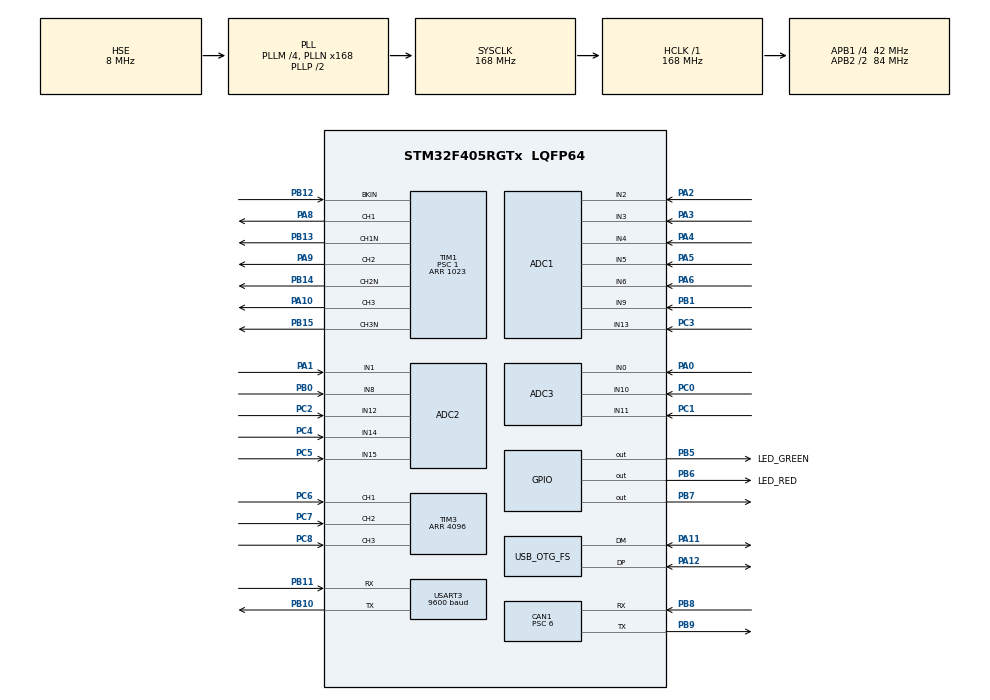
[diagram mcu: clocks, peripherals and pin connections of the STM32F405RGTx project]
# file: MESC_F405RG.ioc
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ADC1.Channel-0\#ChannelRegularConversion=ADC_CHANNEL_3
ADC1.Channel-1\#ChannelInjectedConversion=ADC_CHANNEL_2
ADC1.Channel-2\#ChannelInjectedConversion=ADC_CHANNEL_13
ADC1.Channel-3\#ChannelInjectedConversion=ADC_CHANNEL_4
ADC1.Channel-5\#ChannelRegularConversion=ADC_CHANNEL_4
ADC1.Channel-6\#ChannelRegularConversion=ADC_CHANNEL_5
ADC1.Channel-7\#ChannelRegularConversion=ADC_CHANNEL_6
ADC1.Channel-9\#ChannelInjectedConversion=ADC_CHANNEL_5
ADC1.DMAContinuousRequests=ENABLE
ADC1.EOCSelection=ADC_EOC_SEQ_CONV
ADC1.EnableAnalogWatchDog=true
ADC1.ExternalTrigConv=ADC_EXTERNALTRIGCONV_T2_TRGO
ADC1.ExternalTrigConvEdge=ADC_EXTERNALTRIGCONVEDGE_RISING
ADC1.ExternalTrigInjecConv=ADC_EXTERNALTRIGINJECCONV_T1_TRGO
ADC1.ExternalTrigInjecConvEdge=ADC_EXTERNALTRIGINJECCONVEDGE_FALLING
ADC1.HighThreshold=4048
ADC1.ITMode=ENABLE
ADC1.InjNumberOfConversion=4
ADC1.InjectedOffset-1\#ChannelInjectedConversion=0
ADC1.InjectedOffset-2\#ChannelInjectedConversion=0
ADC1.InjectedOffset-3\#ChannelInjectedConversion=0
ADC1.InjectedOffset-9\#ChannelInjectedConversion=0
ADC1.InjectedRank-1\#ChannelInjectedConversion=1
ADC1.InjectedRank-2\#ChannelInjectedConversion=2
ADC1.InjectedRank-3\#ChannelInjectedConversion=3
ADC1.InjectedRank-9\#ChannelInjectedConversion=4
ADC1.LowThreshold=48
ADC1.NbrOfConversion=4
ADC1.NbrOfConversionFlag=1
ADC1.Rank-0\#ChannelRegularConversion=1
ADC1.Rank-5\#ChannelRegularConversion=2
ADC1.Rank-6\#ChannelRegularConversion=3
ADC1.Rank-7\#ChannelRegularConversion=4
ADC1.SamplingTime-0\#ChannelRegularConversion=ADC_SAMPLETIME_15CYCLES
ADC1.SamplingTime-1\#ChannelInjectedConversion=ADC_SAMPLETIME_15CYCLES
ADC1.SamplingTime-2\#ChannelInjectedConversion=ADC_SAMPLETIME_15CYCLES
ADC1.SamplingTime-3\#ChannelInjectedConversion=ADC_SAMPLETIME_15CYCLES
ADC1.SamplingTime-5\#ChannelRegularConversion=ADC_SAMPLETIME_15CYCLES
ADC1.SamplingTime-6\#ChannelRegularConversion=ADC_SAMPLETIME_15CYCLES
ADC1.SamplingTime-7\#ChannelRegularConversion=ADC_SAMPLETIME_15CYCLES
ADC1.SamplingTime-9\#ChannelInjectedConversion=ADC_SAMPLETIME_15CYCLES
ADC1.ScanConvMode=ENABLE
ADC1.WatchdogChannel=ADC_CHANNEL_2
ADC1.WatchdogMode=ADC_ANALOGWATCHDOG_SINGLE_INJEC
ADC1.master=1
ADC2.Channel-0\#ChannelRegularConversion=ADC_CHANNEL_14
ADC2.Channel-1\#ChannelInjectedConversion=ADC_CHANNEL_1
ADC2.Channel-2\#ChannelInjectedConversion=ADC_CHANNEL_12
ADC2.Channel-3\#ChannelInjectedConversion=ADC_CHANNEL_8
ADC2.Channel-5\#ChannelRegularConversion=ADC_CHANNEL_15
ADC2.Channel-6\#ChannelRegularConversion=ADC_CHANNEL_8
ADC2.Channel-7\#ChannelRegularConversion=ADC_CHANNEL_9
ADC2.Channel-8\#ChannelInjectedConversion=ADC_CHANNEL_9
ADC2.DMAContinuousRequests=ENABLE
ADC2.EOCSelection=ADC_EOC_SEQ_CONV
ADC2.EnableAnalogWatchDog=true
ADC2.ExternalTrigConv=ADC_EXTERNALTRIGCONV_T2_TRGO
ADC2.ExternalTrigInjecConv=ADC_EXTERNALTRIGINJECCONV_T1_TRGO
ADC2.ExternalTrigInjecConvEdge=ADC_EXTERNALTRIGINJECCONVEDGE_FALLING
ADC2.HighThreshold=4048
ADC2.ITMode=ENABLE
ADC2.InjNumberOfConversion=4
ADC2.InjectedOffset-1\#ChannelInjectedConversion=0
ADC2.InjectedOffset-2\#ChannelInjectedConversion=0
ADC2.InjectedOffset-3\#ChannelInjectedConversion=0
ADC2.InjectedOffset-8\#ChannelInjectedConversion=0
ADC2.InjectedRank-1\#ChannelInjectedConversion=1
ADC2.InjectedRank-2\#ChannelInjectedConversion=2
ADC2.InjectedRank-3\#ChannelInjectedConversion=3
ADC2.InjectedRank-8\#ChannelInjectedConversion=4
ADC2.LowThreshold=48
ADC2.NbrOfConversion=4
ADC2.NbrOfConversionFlag=1
ADC2.Rank-0\#ChannelRegularConversion=1
ADC2.Rank-5\#ChannelRegularConversion=2
ADC2.Rank-6\#ChannelRegularConversion=3
ADC2.Rank-7\#ChannelRegularConversion=4
ADC2.SamplingTime-0\#ChannelRegularConversion=ADC_SAMPLETIME_15CYCLES
ADC2.SamplingTime-1\#ChannelInjectedConversion=ADC_SAMPLETIME_15CYCLES
ADC2.SamplingTime-2\#ChannelInjectedConversion=ADC_SAMPLETIME_15CYCLES
ADC2.SamplingTime-3\#ChannelInjectedConversion=ADC_SAMPLETIME_15CYCLES
ADC2.SamplingTime-5\#ChannelRegularConversion=ADC_SAMPLETIME_15CYCLES
ADC2.SamplingTime-6\#ChannelRegularConversion=ADC_SAMPLETIME_15CYCLES
ADC2.SamplingTime-7\#ChannelRegularConversion=ADC_SAMPLETIME_15CYCLES
ADC2.SamplingTime-8\#ChannelInjectedConversion=ADC_SAMPLETIME_3CYCLES
ADC2.WatchdogChannel=ADC_CHANNEL_1
ADC2.WatchdogMode=ADC_ANALOGWATCHDOG_SINGLE_INJEC
ADC3.Channel-0\#ChannelRegularConversion=ADC_CHANNEL_10
ADC3.Channel-1\#ChannelInjectedConversion=ADC_CHANNEL_0
ADC3.Channel-2\#ChannelInjectedConversion=ADC_CHANNEL_11
ADC3.Channel-3\#ChannelInjectedConversion=ADC_CHANNEL_10
ADC3.Channel-4\#ChannelInjectedConversion=ADC_CHANNEL_11
ADC3.EOCSelection=ADC_EOC_SEQ_CONV
ADC3.EnableAnalogWatchDog=true
ADC3.ExternalTrigInjecConv=ADC_EXTERNALTRIGINJECCONV_T1_TRGO
ADC3.ExternalTrigInjecConvEdge=ADC_EXTERNALTRIGINJECCONVEDGE_FALLING
ADC3.HighThreshold=4048
ADC3.ITMode=ENABLE
ADC3.InjNumberOfConversion=4
ADC3.InjectedOffset-1\#ChannelInjectedConversion=0
ADC3.InjectedOffset-2\#ChannelInjectedConversion=0
ADC3.InjectedOffset-3\#ChannelInjectedConversion=0
ADC3.InjectedOffset-4\#ChannelInjectedConversion=0
ADC3.InjectedRank-1\#ChannelInjectedConversion=1
ADC3.InjectedRank-2\#ChannelInjectedConversion=2
ADC3.InjectedRank-3\#ChannelInjectedConversion=3
ADC3.InjectedRank-4\#ChannelInjectedConversion=4
ADC3.LowThreshold=48
ADC3.NbrOfConversionFlag=1
ADC3.Rank-0\#ChannelRegularConversion=1
ADC3.SamplingTime-0\#ChannelRegularConversion=ADC_SAMPLETIME_3CYCLES
ADC3.SamplingTime-1\#ChannelInjectedConversion=ADC_SAMPLETIME_15CYCLES
ADC3.SamplingTime-2\#ChannelInjectedConversion=ADC_SAMPLETIME_15CYCLES
ADC3.SamplingTime-3\#ChannelInjectedConversion=ADC_SAMPLETIME_15CYCLES
ADC3.SamplingTime-4\#ChannelInjectedConversion=ADC_SAMPLETIME_3CYCLES
ADC3.WatchdogChannel=ADC_CHANNEL_0
ADC3.WatchdogMode=ADC_ANALOGWATCHDOG_SINGLE_INJEC
CAN1.BS1=CAN_BS1_11TQ
CAN1.BS2=CAN_BS2_2TQ
CAN1.CalculateBaudRate=500000
CAN1.CalculateTimeBit=2000
CAN1.CalculateTimeQuantum=142.85714285714286
CAN1.NART=DISABLE
CAN1.Prescaler=6
CAN1.SJW=CAN_SJW_2TQ
CAN1.TXFP=ENABLE
Dma.ADC1.2.Direction=DMA_PERIPH_TO_MEMORY
Dma.ADC1.2.FIFOMode=DMA_FIFOMODE_DISABLE
Dma.ADC1.2.Instance=DMA2_Stream0
Dma.ADC1.2.MemDataAlignment=DMA_MDATAALIGN_WORD
Dma.ADC1.2.MemInc=DMA_MINC_ENABLE
Dma.ADC1.2.Mode=DMA_CIRCULAR
Dma.ADC1.2.PeriphDataAlignment=DMA_PDATAALIGN_WORD
Dma.ADC1.2.PeriphInc=DMA_PINC_DISABLE
Dma.ADC1.2.Priority=DMA_PRIORITY_LOW
Dma.ADC2.3.Direction=DMA_PERIPH_TO_MEMORY
Dma.ADC2.3.FIFOMode=DMA_FIFOMODE_DISABLE
Dma.ADC2.3.Instance=DMA2_Stream2
Dma.ADC2.3.MemDataAlignment=DMA_MDATAALIGN_WORD
Dma.ADC2.3.MemInc=DMA_MINC_ENABLE
Dma.ADC2.3.Mode=DMA_CIRCULAR
Dma.ADC2.3.PeriphDataAlignment=DMA_PDATAALIGN_WORD
Dma.ADC2.3.PeriphInc=DMA_PINC_DISABLE
Dma.ADC2.3.Priority=DMA_PRIORITY_LOW
Dma.Request0=USART3_TX
Dma.Request1=USART3_RX
Dma.Request2=ADC1
Dma.Request3=ADC2
Dma.USART3_RX.1.Direction=DMA_PERIPH_TO_MEMORY
Dma.USART3_RX.1.FIFOMode=DMA_FIFOMODE_DISABLE
Dma.USART3_RX.1.Instance=DMA1_Stream1
Dma.USART3_RX.1.MemDataAlignment=DMA_MDATAALIGN_BYTE
Dma.USART3_RX.1.MemInc=DMA_MINC_ENABLE
Dma.USART3_RX.1.Mode=DMA_CIRCULAR
Dma.USART3_RX.1.PeriphDataAlignment=DMA_PDATAALIGN_BYTE
Dma.USART3_RX.1.PeriphInc=DMA_PINC_DISABLE
Dma.USART3_RX.1.Priority=DMA_PRIORITY_LOW
Dma.USART3_TX.0.Direction=DMA_MEMORY_TO_PERIPH
Dma.USART3_TX.0.FIFOMode=DMA_FIFOMODE_DISABLE
Dma.USART3_TX.0.Instance=DMA1_Stream3
Dma.USART3_TX.0.MemDataAlignment=DMA_MDATAALIGN_BYTE
Dma.USART3_TX.0.MemInc=DMA_MINC_ENABLE
Dma.USART3_TX.0.Mode=DMA_NORMAL
Dma.USART3_TX.0.PeriphDataAlignment=DMA_PDATAALIGN_BYTE
Dma.USART3_TX.0.PeriphInc=DMA_PINC_DISABLE
Dma.USART3_TX.0.Priority=DMA_PRIORITY_LOW
FREERTOS.Tasks01=defaultTask,24,256,StartDefaultTask,Default,NULL,Dynamic,NULL,NULL
FREERTOS.configENABLE_FPU=1
FREERTOS.configRECORD_STACK_HIGH_ADDRESS=1
FREERTOS.configTOTAL_HEAP_SIZE=64000
FREERTOS.configUSE_NEWLIB_REENTRANT=1
Mcu.Family=STM32F4
Mcu.Name=STM32F405RGTx
Mcu.Package=LQFP64
NVIC.ADC_IRQn=true\:2\:0\:true\:false\:true\:false\:true\:false\:true
NVIC.CAN1_RX0_IRQn=true\:5\:0\:false\:false\:false\:true\:true\:false\:true
NVIC.DMA1_Stream1_IRQn=true\:5\:0\:false\:false\:true\:true\:false\:true\:true
NVIC.DMA1_Stream3_IRQn=true\:5\:0\:true\:false\:true\:true\:false\:true\:true
NVIC.OTG_FS_IRQn=true\:5\:0\:true\:false\:true\:true\:true\:true\:true
NVIC.PriorityGroup=NVIC_PRIORITYGROUP_4
NVIC.TIM1_UP_TIM10_IRQn=true\:1\:0\:true\:false\:true\:false\:true\:false\:true
NVIC.TIM2_IRQn=true\:3\:0\:true\:false\:true\:false\:true\:false\:true
NVIC.TIM4_IRQn=true\:4\:0\:true\:false\:true\:false\:true\:false\:true
NVIC.TIM6_DAC_IRQn=true\:15\:0\:false\:false\:true\:false\:false\:true\:true
NVIC.TimeBase=TIM6_DAC_IRQn
NVIC.TimeBaseIP=TIM6
NVIC.USART3_IRQn=true\:5\:0\:true\:false\:true\:true\:true\:true\:true
PA0-WKUP.Signal=ADCx_IN0
PA1.Signal=ADCx_IN1
PA10.Signal=S_TIM1_CH3
PA11.Mode=Device_Only
PA11.Signal=USB_OTG_FS_DM
PA12.Mode=Device_Only
PA12.Signal=USB_OTG_FS_DP
PA2.Signal=ADCx_IN2
PA3.Signal=ADCx_IN3
PA4.Signal=ADCx_IN4
PA5.Signal=ADCx_IN5
PA6.Signal=ADCx_IN6
PA8.Signal=S_TIM1_CH1
PA9.Signal=S_TIM1_CH2
PB0.Signal=ADCx_IN8
PB1.Signal=ADCx_IN9
PB10.Signal=SharedStack_PB10
PB10.Stacked=true
PB11.Signal=SharedStack_PB11
PB11.Stacked=true
PB12.Mode=Activate-Break-Input
PB12.Signal=TIM1_BKIN
PB13.Mode=PWM Generation1 CH1 CH1N
PB13.Signal=TIM1_CH1N
PB14.Mode=PWM Generation2 CH2 CH2N
PB14.Signal=TIM1_CH2N
PB15.Mode=PWM Generation3 CH3 CH3N
PB15.Signal=TIM1_CH3N
PB5.GPIO_Label=LED_GREEN
PB5.Signal=GPIO_Output
PB6.GPIO_Label=LED_RED
PB6.Signal=GPIO_Output
PB7.Signal=GPIO_Output
PB8.Mode=CAN_Activate
PB8.Signal=CAN1_RX
PB9.Mode=CAN_Activate
PB9.Signal=CAN1_TX
PC0.Signal=ADCx_IN10
PC1.Signal=ADCx_IN11
PC2.Signal=ADCx_IN12
PC3.Signal=ADCx_IN13
PC4.Signal=ADCx_IN14
PC5.Signal=ADCx_IN15
PC6.Signal=S_TIM3_CH1
PC7.Signal=S_TIM3_CH2
PC8.Signal=S_TIM3_CH3
PH0-OSC_IN.Mode=HSE-External-Oscillator
PH0-OSC_IN.Signal=RCC_OSC_IN
PH1-OSC_OUT.Mode=HSE-External-Oscillator
PH1-OSC_OUT.Signal=RCC_OSC_OUT
ProjectManager.HeapSize=0x200
ProjectManager.StackSize=0x400
ProjectManager.TargetToolchain=CMake
RCC.48MHZClocksFreq_Value=48000000
RCC.AHBFreq_Value=168000000
RCC.APB1CLKDivider=RCC_HCLK_DIV4
RCC.APB1Freq_Value=42000000
RCC.APB1TimFreq_Value=84000000
RCC.APB2CLKDivider=RCC_HCLK_DIV2
RCC.APB2Freq_Value=84000000
RCC.APB2TimFreq_Value=168000000
RCC.CortexFreq_Value=168000000
RCC.HCLKFreq_Value=168000000
RCC.HSE_VALUE=8000000
RCC.HSI_VALUE=16000000
RCC.LSE_VALUE=32768
RCC.PLLM=4
RCC.PLLN=168
RCC.PLLQ=7
RCC.SYSCLKFreq_VALUE=168000000
RCC.SYSCLKSource=RCC_SYSCLKSOURCE_PLLCLK
RCC.VCOOutputFreq_Value=336000000
SH.ADCx_IN0.0=ADC1_IN0
SH.ADCx_IN0.1=ADC3_IN0,IN0
SH.ADCx_IN1.0=ADC2_IN1,IN1
SH.ADCx_IN10.0=ADC1_IN10
SH.ADCx_IN10.1=ADC3_IN10,IN10
SH.ADCx_IN11.0=ADC2_IN11
SH.ADCx_IN11.1=ADC3_IN11,IN11
SH.ADCx_IN12.0=ADC3_IN12
SH.ADCx_IN12.1=ADC2_IN12,IN12
SH.ADCx_IN13.0=ADC3_IN13
SH.ADCx_IN13.1=ADC1_IN13,IN13
SH.ADCx_IN14.0=ADC2_IN14,IN14
SH.ADCx_IN15.0=ADC2_IN15,IN15
SH.ADCx_IN2.0=ADC3_IN2
SH.ADCx_IN2.1=ADC1_IN2,IN2
SH.ADCx_IN3.0=ADC2_IN3
SH.ADCx_IN3.1=ADC1_IN3,IN3
SH.ADCx_IN4.0=ADC1_IN4,IN4
SH.ADCx_IN5.0=ADC1_IN5,IN5
SH.ADCx_IN6.0=ADC1_IN6,IN6
SH.ADCx_IN8.0=ADC2_IN8,IN8
SH.ADCx_IN9.0=ADC1_IN9,IN9
SH.ADCx_IN9.1=ADC2_IN9,IN9
SH.S_TIM1_CH1.0=TIM1_CH1,PWM Generation1 CH1 CH1N
SH.S_TIM1_CH2.0=TIM1_CH2,PWM Generation2 CH2 CH2N
SH.S_TIM1_CH3.0=TIM1_CH3,PWM Generation3 CH3 CH3N
SH.S_TIM3_CH1.0=TIM3_CH1,Encoder_Interface
SH.S_TIM3_CH2.0=TIM3_CH2,Encoder_Interface
SH.S_TIM3_CH3.0=TIM3_CH3,Input_Capture3_from_TI3
SH.SharedStack_PB10.0=I2C2_SCL
SH.SharedStack_PB10.1=USART3_TX,Asynchronous
SH.SharedStack_PB11.0=I2C2_SDA
SH.SharedStack_PB11.1=USART3_RX,Asynchronous
TIM1.BreakPolarity=TIM_BREAKPOLARITY_LOW
TIM1.Channel-PWM\ Generation1\ CH1\ CH1N=TIM_CHANNEL_1
TIM1.Channel-PWM\ Generation2\ CH2\ CH2N=TIM_CHANNEL_2
TIM1.Channel-PWM\ Generation3\ CH3\ CH3N=TIM_CHANNEL_3
TIM1.Channel-PWM\ Generation4\ No\ Output=TIM_CHANNEL_4
TIM1.CounterMode=TIM_COUNTERMODE_CENTERALIGNED1
TIM1.DeadTime=80
TIM1.OffStateIDLEMode=TIM_OSSI_ENABLE
TIM1.OffStateRunMode=TIM_OSSR_ENABLE
TIM1.Period=1023
TIM1.Prescaler=1
TIM1.Pulse-PWM\ Generation1\ CH1\ CH1N=512
TIM1.Pulse-PWM\ Generation2\ CH2\ CH2N=512
TIM1.Pulse-PWM\ Generation3\ CH3\ CH3N=512
TIM1.Pulse-PWM\ Generation4\ No\ Output=512
TIM1.TIM_MasterOutputTrigger=TIM_TRGO_OC4REF
TIM2.Channel-PWM\ Generation1\ No\ Output=TIM_CHANNEL_1
TIM2.Period=9999
TIM2.Prescaler=83
TIM2.TIM_MasterOutputTrigger=TIM_TRGO_UPDATE
TIM3.Channel-Input_Capture3_from_TI3=TIM_CHANNEL_3
TIM3.EncoderMode=TIM_ENCODERMODE_TI12
TIM3.Period=4096
TIM4.Channel-Output\ Compare3\ No\ Output=TIM_CHANNEL_3
TIM4.Channel-PWM\ Generation1\ No\ Output=TIM_CHANNEL_1
TIM4.CounterMode=TIM_COUNTERMODE_UP
TIM4.Prescaler=83
USART3.BaudRate=9600
USART3.VirtualMode=VM_ASYNC
USB_DEVICE.APP_RX_DATA_SIZE-CDC_FS=2048
USB_DEVICE.APP_TX_DATA_SIZE-CDC_FS=2048
USB_DEVICE.CLASS_NAME_FS=CDC
USB_DEVICE.VirtualMode-CDC_FS=Cdc
USB_DEVICE.VirtualModeFS=Cdc_FS
USB_OTG_FS.VirtualMode=Device_Only
VP_FREERTOS_VS_CMSIS_V2.Mode=CMSIS_V2
VP_SYS_VS_tim6.Mode=TIM6
VP_TIM1_VS_no_output4.Mode=PWM Generation4 No Output
VP_TIM2_VS_no_output1.Mode=PWM Generation1 No Output
VP_TIM4_VS_no_output1.Mode=PWM Generation1 No Output
VP_TIM4_VS_no_output3.Mode=Output Compare3 No Output
VP_TIM7_VS_ClockSourceINT.Mode=Enable_Timer
VP_USB_DEVICE_VS_USB_DEVICE_CDC_FS.Mode=CDC_FS
board=custom

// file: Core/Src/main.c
/* USER CODE BEGIN Header */
/**
  ******************************************************************************
  * @file           : main.c
  * @brief          : Main program body
  ******************************************************************************
  * @attention
  *
  * Copyright (c) 2024 STMicroelectronics.
  * All rights reserved.
  *
  * This software is licensed under terms that can be found in the LICENSE file
  * in the root directory of this software component.
  * If no LICENSE file comes with this software, it is provided AS-IS.
  *
  ******************************************************************************
  */
/* USER CODE END Header */
#include "main.h"
#include "cmsis_os.h"
#include "usb_device.h"

/* USER CODE BEGIN Includes */
#include "MESCbat.h"
#include "MESCflash.h"
#include "MESCprofile.h"
#include "MESCmotor.h"
#include "MESCspeed.h"
#include "MESCtemp.h"
#include "MESCuart.h"
#include "MESCui.h"

#include "MESCmotor_state.h"
#include "MESC_Comms.h"
#include "MPU6050.h"
#include "Simple_coms.h"

#include "Tasks/init.h"

/* USER CODE END Includes */

ADC_HandleTypeDef hadc1;
ADC_HandleTypeDef hadc2;
ADC_HandleTypeDef hadc3;
DMA_HandleTypeDef hdma_adc1;
DMA_HandleTypeDef hdma_adc2;

CAN_HandleTypeDef hcan1;

TIM_HandleTypeDef htim1;
TIM_HandleTypeDef htim2;
TIM_HandleTypeDef htim3;
TIM_HandleTypeDef htim4;
TIM_HandleTypeDef htim7;

UART_HandleTypeDef huart3;
DMA_HandleTypeDef hdma_usart3_tx;
DMA_HandleTypeDef hdma_usart3_rx;

/* Definitions for defaultTask */
osThreadId_t defaultTaskHandle;
const osThreadAttr_t defaultTask_attributes = {
  .name = "defaultTask",
  .stack_size = 256 * 4,
  .priority = (osPriority_t) osPriorityNormal,
};
/* USER CODE BEGIN PV */
I2C_HandleTypeDef hi2c2;
uint16_t MPU_present, MPU_present2;
MPU6050_data_t MPU_instance_1, MPU_instance_2;
#define MPU6050_ADDR 0xD0
COMS_data_t com1;

/* USER CODE END PV */

void SystemClock_Config(void);
static void MX_GPIO_Init(void);
static void MX_DMA_Init(void);
static void MX_ADC1_Init(void);
static void MX_ADC2_Init(void);
static void MX_ADC3_Init(void);
static void MX_TIM1_Init(void);
static void MX_TIM4_Init(void);
static void MX_USART3_UART_Init(void);
static void MX_TIM7_Init(void);
static void MX_TIM2_Init(void);
static void MX_TIM3_Init(void);
static void MX_CAN1_Init(void);
void StartDefaultTask(void *argument);

/* USER CODE BEGIN PFP */
static void MX_I2C2_Init(void);

/* USER CODE END PFP */

int main(void)
{

  /* MCU Configuration--------------------------------------------------------*/

  /* Reset of all peripherals, Initializes the Flash interface and the Systick. */
  HAL_Init();

  /* Configure the system clock */
  SystemClock_Config();

  /* Initialize all configured peripherals */
  MX_GPIO_Init();
  MX_DMA_Init();
  MX_ADC1_Init();
  MX_ADC2_Init();
  MX_ADC3_Init();
  MX_TIM1_Init();
  MX_TIM4_Init();
  MX_USART3_UART_Init();
  MX_TIM7_Init();
  MX_TIM2_Init();
  MX_TIM3_Init();
  MX_CAN1_Init();
  /* USER CODE BEGIN 2 */
  //MX_I2C2_Init();

#ifdef IC_TIMER
  MESC_IC_Init(IC_TIMER);
#endif
HAL_TIM_Encoder_Start(&htim3, TIM_CHANNEL_1);
HAL_TIM_Encoder_Start(&htim3, TIM_CHANNEL_2);
HAL_TIM_IC_Start(&htim3, TIM_CHANNEL_3);

#ifdef USE_SPI_ENCODER
  HAL_SPI_Init(&hspi3);
#endif

  HAL_TIM_Base_Start(&htim7);
  /*
  Starting System Initialisation
  */

  // Initialise components
  bat_init( PROFILE_DEFAULT );
  speed_init( PROFILE_DEFAULT );
  // Initialise user Interface
  //ui_init( PROFILE_DEFAULT );

  /*
  Finished System Initialisation
  */
HAL_Delay(1);
  //Set motor timer
  mtr[0].mtimer = &htim1;
  mtr[0].stimer = &htim2;

  mtr[0].enctimer = &htim3;
  //mtr[0].encspi = &hspi3;
  motor_init( PROFILE_DEFAULT );
  MESCInit(&mtr[0]);

  /* USER CODE END 2 */

  /* Init scheduler */
  osKernelInitialize();

  /* Create the thread(s) */
  /* creation of defaultTask */
  defaultTaskHandle = osThreadNew(StartDefaultTask, NULL, &defaultTask_attributes);

  /* USER CODE BEGIN RTOS_EVENTS */
  /* add events, ... */
  init_system();

  /* USER CODE END RTOS_EVENTS */

  /* Start scheduler */
  osKernelStart();

  /* We should never get here as control is now taken by the scheduler */

  /* Infinite loop */
  /* USER CODE BEGIN WHILE */

  HAL_Delay(1000);
  //MotorState = MOTOR_STATE_RUN;
  HAL_Delay(1000);

#if 0                                  // INIT FLASH
  while (MotorState == MOTOR_STATE_MEASURING) {
    __NOP();
  }
  MotorState = MOTOR_STATE_DETECTING;
  while (MotorState == MOTOR_STATE_DETECTING) {
    __NOP();
  }
#endif

  while (1) {
    /* USER CODE END WHILE */

  }
}

void SystemClock_Config(void)
{
  RCC_OscInitTypeDef RCC_OscInitStruct = {0};
  RCC_ClkInitTypeDef RCC_ClkInitStruct = {0};

  /** Configure the main internal regulator output voltage
  */
  __HAL_RCC_PWR_CLK_ENABLE();
  __HAL_PWR_VOLTAGESCALING_CONFIG(PWR_REGULATOR_VOLTAGE_SCALE1);

  /** Initializes the RCC Oscillators according to the specified parameters
  * in the RCC_OscInitTypeDef structure.
  */
  RCC_OscInitStruct.OscillatorType = RCC_OSCILLATORTYPE_HSE;
  RCC_OscInitStruct.HSEState = RCC_HSE_ON;
  RCC_OscInitStruct.PLL.PLLState = RCC_PLL_ON;
  RCC_OscInitStruct.PLL.PLLSource = RCC_PLLSOURCE_HSE;
  RCC_OscInitStruct.PLL.PLLM = 4;
  RCC_OscInitStruct.PLL.PLLN = 168;
  RCC_OscInitStruct.PLL.PLLP = RCC_PLLP_DIV2;
  RCC_OscInitStruct.PLL.PLLQ = 7;
  if (HAL_RCC_OscConfig(&RCC_OscInitStruct) != HAL_OK)
  {
    Error_Handler();
  }

  /** Initializes the CPU, AHB and APB buses clocks
  */
  RCC_ClkInitStruct.ClockType = RCC_CLOCKTYPE_HCLK|RCC_CLOCKTYPE_SYSCLK
                              |RCC_CLOCKTYPE_PCLK1|RCC_CLOCKTYPE_PCLK2;
  RCC_ClkInitStruct.SYSCLKSource = RCC_SYSCLKSOURCE_PLLCLK;
  RCC_ClkInitStruct.AHBCLKDivider = RCC_SYSCLK_DIV1;
  RCC_ClkInitStruct.APB1CLKDivider = RCC_HCLK_DIV4;
  RCC_ClkInitStruct.APB2CLKDivider = RCC_HCLK_DIV2;

  if (HAL_RCC_ClockConfig(&RCC_ClkInitStruct, FLASH_LATENCY_5) != HAL_OK)
  {
    Error_Handler();
  }
}

static void MX_ADC1_Init(void)
{

  ADC_AnalogWDGConfTypeDef AnalogWDGConfig = {0};
  ADC_ChannelConfTypeDef sConfig = {0};
  ADC_InjectionConfTypeDef sConfigInjected = {0};

  /** Configure the global features of the ADC (Clock, Resolution, Data Alignment and number of conversion)
  */
  hadc1.Instance = ADC1;
  hadc1.Init.ClockPrescaler = ADC_CLOCK_SYNC_PCLK_DIV4;
  hadc1.Init.Resolution = ADC_RESOLUTION_12B;
  hadc1.Init.ScanConvMode = ENABLE;
  hadc1.Init.ContinuousConvMode = DISABLE;
  hadc1.Init.DiscontinuousConvMode = DISABLE;
  hadc1.Init.ExternalTrigConvEdge = ADC_EXTERNALTRIGCONVEDGE_RISING;
  hadc1.Init.ExternalTrigConv = ADC_EXTERNALTRIGCONV_T2_TRGO;
  hadc1.Init.DataAlign = ADC_DATAALIGN_RIGHT;
  hadc1.Init.NbrOfConversion = 4;
  hadc1.Init.DMAContinuousRequests = ENABLE;
  hadc1.Init.EOCSelection = ADC_EOC_SEQ_CONV;
  if (HAL_ADC_Init(&hadc1) != HAL_OK)
  {
    Error_Handler();
  }

  /** Configure the analog watchdog
  */
  AnalogWDGConfig.WatchdogMode = ADC_ANALOGWATCHDOG_SINGLE_INJEC;
  AnalogWDGConfig.HighThreshold = 4048;
  AnalogWDGConfig.LowThreshold = 48;
  AnalogWDGConfig.Channel = ADC_CHANNEL_2;
  AnalogWDGConfig.ITMode = ENABLE;
  if (HAL_ADC_AnalogWDGConfig(&hadc1, &AnalogWDGConfig) != HAL_OK)
  {
    Error_Handler();
  }

  /** Configure for the selected ADC regular channel its corresponding rank in the sequencer and its sample time.
  */
  sConfig.Channel = ADC_CHANNEL_3;
  sConfig.Rank = 1;
  sConfig.SamplingTime = ADC_SAMPLETIME_15CYCLES;
  if (HAL_ADC_ConfigChannel(&hadc1, &sConfig) != HAL_OK)
  {
    Error_Handler();
  }

  /** Configure for the selected ADC regular channel its corresponding rank in the sequencer and its sample time.
  */
  sConfig.Channel = ADC_CHANNEL_4;
  sConfig.Rank = 2;
  if (HAL_ADC_ConfigChannel(&hadc1, &sConfig) != HAL_OK)
  {
    Error_Handler();
  }

  /** Configure for the selected ADC regular channel its corresponding rank in the sequencer and its sample time.
  */
  sConfig.Channel = ADC_CHANNEL_5;
  sConfig.Rank = 3;
  if (HAL_ADC_ConfigChannel(&hadc1, &sConfig) != HAL_OK)
  {
    Error_Handler();
  }

  /** Configure for the selected ADC regular channel its corresponding rank in the sequencer and its sample time.
  */
  sConfig.Channel = ADC_CHANNEL_6;
  sConfig.Rank = 4;
  if (HAL_ADC_ConfigChannel(&hadc1, &sConfig) != HAL_OK)
  {
    Error_Handler();
  }

  /** Configures for the selected ADC injected channel its corresponding rank in the sequencer and its sample time
  */
  sConfigInjected.InjectedChannel = ADC_CHANNEL_2;
  sConfigInjected.InjectedRank = 1;
  sConfigInjected.InjectedNbrOfConversion = 4;
  sConfigInjected.InjectedSamplingTime = ADC_SAMPLETIME_15CYCLES;
  sConfigInjected.ExternalTrigInjecConvEdge = ADC_EXTERNALTRIGINJECCONVEDGE_FALLING;
  sConfigInjected.ExternalTrigInjecConv = ADC_EXTERNALTRIGINJECCONV_T1_TRGO;
  sConfigInjected.AutoInjectedConv = DISABLE;
  sConfigInjected.InjectedDiscontinuousConvMode = DISABLE;
  sConfigInjected.InjectedOffset = 0;
  if (HAL_ADCEx_InjectedConfigChannel(&hadc1, &sConfigInjected) != HAL_OK)
  {
    Error_Handler();
  }

  /** Configures for the selected ADC injected channel its corresponding rank in the sequencer and its sample time
  */
  sConfigInjected.InjectedChannel = ADC_CHANNEL_13;
  sConfigInjected.InjectedRank = 2;
  if (HAL_ADCEx_InjectedConfigChannel(&hadc1, &sConfigInjected) != HAL_OK)
  {
    Error_Handler();
  }

  /** Configures for the selected ADC injected channel its corresponding rank in the sequencer and its sample time
  */
  sConfigInjected.InjectedChannel = ADC_CHANNEL_4;
  sConfigInjected.InjectedRank = 3;
  if (HAL_ADCEx_InjectedConfigChannel(&hadc1, &sConfigInjected) != HAL_OK)
  {
    Error_Handler();
  }

  /** Configures for the selected ADC injected channel its corresponding rank in the sequencer and its sample time
  */
  sConfigInjected.InjectedChannel = ADC_CHANNEL_5;
  sConfigInjected.InjectedRank = 4;
  if (HAL_ADCEx_InjectedConfigChannel(&hadc1, &sConfigInjected) != HAL_OK)
  {
    Error_Handler();
  }

}

static void MX_ADC2_Init(void)
{

  ADC_AnalogWDGConfTypeDef AnalogWDGConfig = {0};
  ADC_ChannelConfTypeDef sConfig = {0};
  ADC_InjectionConfTypeDef sConfigInjected = {0};

  /** Configure the global features of the ADC (Clock, Resolution, Data Alignment and number of conversion)
  */
  hadc2.Instance = ADC2;
  hadc2.Init.ClockPrescaler = ADC_CLOCK_SYNC_PCLK_DIV4;
  hadc2.Init.Resolution = ADC_RESOLUTION_12B;
  hadc2.Init.ScanConvMode = ENABLE;
  hadc2.Init.ContinuousConvMode = DISABLE;
  hadc2.Init.DiscontinuousConvMode = DISABLE;
  hadc2.Init.ExternalTrigConvEdge = ADC_EXTERNALTRIGCONVEDGE_RISING;
  hadc2.Init.ExternalTrigConv = ADC_EXTERNALTRIGCONV_T2_TRGO;
  hadc2.Init.DataAlign = ADC_DATAALIGN_RIGHT;
  hadc2.Init.NbrOfConversion = 4;
  hadc2.Init.DMAContinuousRequests = ENABLE;
  hadc2.Init.EOCSelection = ADC_EOC_SEQ_CONV;
  if (HAL_ADC_Init(&hadc2) != HAL_OK)
  {
    Error_Handler();
  }

  /** Configure the analog watchdog
  */
  AnalogWDGConfig.WatchdogMode = ADC_ANALOGWATCHDOG_SINGLE_INJEC;
  AnalogWDGConfig.HighThreshold = 4048;
  AnalogWDGConfig.LowThreshold = 48;
  AnalogWDGConfig.Channel = ADC_CHANNEL_1;
  AnalogWDGConfig.ITMode = ENABLE;
  if (HAL_ADC_AnalogWDGConfig(&hadc2, &AnalogWDGConfig) != HAL_OK)
  {
    Error_Handler();
  }

  /** Configure for the selected ADC regular channel its corresponding rank in the sequencer and its sample time.
  */
  sConfig.Channel = ADC_CHANNEL_14;
  sConfig.Rank = 1;
  sConfig.SamplingTime = ADC_SAMPLETIME_15CYCLES;
  if (HAL_ADC_ConfigChannel(&hadc2, &sConfig) != HAL_OK)
  {
    Error_Handler();
  }

  /** Configure for the selected ADC regular channel its corresponding rank in the sequencer and its sample time.
  */
  sConfig.Channel = ADC_CHANNEL_15;
  sConfig.Rank = 2;
  if (HAL_ADC_ConfigChannel(&hadc2, &sConfig) != HAL_OK)
  {
    Error_Handler();
  }

  /** Configure for the selected ADC regular channel its corresponding rank in the sequencer and its sample time.
  */
  sConfig.Channel = ADC_CHANNEL_8;
  sConfig.Rank = 3;
  if (HAL_ADC_ConfigChannel(&hadc2, &sConfig) != HAL_OK)
  {
    Error_Handler();
  }

  /** Configure for the selected ADC regular channel its corresponding rank in the sequencer and its sample time.
  */
  sConfig.Channel = ADC_CHANNEL_9;
  sConfig.Rank = 4;
  if (HAL_ADC_ConfigChannel(&hadc2, &sConfig) != HAL_OK)
  {
    Error_Handler();
  }

  /** Configures for the selected ADC injected channel its corresponding rank in the sequencer and its sample time
  */
  sConfigInjected.InjectedChannel = ADC_CHANNEL_1;
  sConfigInjected.InjectedRank = 1;
  sConfigInjected.InjectedNbrOfConversion = 4;
  sConfigInjected.InjectedSamplingTime = ADC_SAMPLETIME_15CYCLES;
  sConfigInjected.ExternalTrigInjecConvEdge = ADC_EXTERNALTRIGINJECCONVEDGE_FALLING;
  sConfigInjected.ExternalTrigInjecConv = ADC_EXTERNALTRIGINJECCONV_T1_TRGO;
  sConfigInjected.AutoInjectedConv = DISABLE;
  sConfigInjected.InjectedDiscontinuousConvMode = DISABLE;
  sConfigInjected.InjectedOffset = 0;
  if (HAL_ADCEx_InjectedConfigChannel(&hadc2, &sConfigInjected) != HAL_OK)
  {
    Error_Handler();
  }

  /** Configures for the selected ADC injected channel its corresponding rank in the sequencer and its sample time
  */
  sConfigInjected.InjectedChannel = ADC_CHANNEL_12;
  sConfigInjected.InjectedRank = 2;
  if (HAL_ADCEx_InjectedConfigChannel(&hadc2, &sConfigInjected) != HAL_OK)
  {
    Error_Handler();
  }

  /** Configures for the selected ADC injected channel its corresponding rank in the sequencer and its sample time
  */
  sConfigInjected.InjectedChannel = ADC_CHANNEL_8;
  sConfigInjected.InjectedRank = 3;
  if (HAL_ADCEx_InjectedConfigChannel(&hadc2, &sConfigInjected) != HAL_OK)
  {
    Error_Handler();
  }

  /** Configures for the selected ADC injected channel its corresponding rank in the sequencer and its sample time
  */
  sConfigInjected.InjectedChannel = ADC_CHANNEL_9;
  sConfigInjected.InjectedRank = 4;
  sConfigInjected.InjectedSamplingTime = ADC_SAMPLETIME_3CYCLES;
  if (HAL_ADCEx_InjectedConfigChannel(&hadc2, &sConfigInjected) != HAL_OK)
  {
    Error_Handler();
  }

}

static void MX_ADC3_Init(void)
{

  ADC_AnalogWDGConfTypeDef AnalogWDGConfig = {0};
  ADC_ChannelConfTypeDef sConfig = {0};
  ADC_InjectionConfTypeDef sConfigInjected = {0};

  /** Configure the global features of the ADC (Clock, Resolution, Data Alignment and number of conversion)
  */
  hadc3.Instance = ADC3;
  hadc3.Init.ClockPrescaler = ADC_CLOCK_SYNC_PCLK_DIV4;
  hadc3.Init.Resolution = ADC_RESOLUTION_12B;
  hadc3.Init.ScanConvMode = ENABLE;
  hadc3.Init.ContinuousConvMode = DISABLE;
  hadc3.Init.DiscontinuousConvMode = DISABLE;
  hadc3.Init.ExternalTrigConvEdge = ADC_EXTERNALTRIGCONVEDGE_NONE;
  hadc3.Init.ExternalTrigConv = ADC_SOFTWARE_START;
  hadc3.Init.DataAlign = ADC_DATAALIGN_RIGHT;
  hadc3.Init.NbrOfConversion = 1;
  hadc3.Init.DMAContinuousRequests = DISABLE;
  hadc3.Init.EOCSelection = ADC_EOC_SEQ_CONV;
  if (HAL_ADC_Init(&hadc3) != HAL_OK)
  {
    Error_Handler();
  }

  /** Configure the analog watchdog
  */
  AnalogWDGConfig.WatchdogMode = ADC_ANALOGWATCHDOG_SINGLE_INJEC;
  AnalogWDGConfig.HighThreshold = 4048;
  AnalogWDGConfig.LowThreshold = 48;
  AnalogWDGConfig.Channel = ADC_CHANNEL_0;
  AnalogWDGConfig.ITMode = ENABLE;
  if (HAL_ADC_AnalogWDGConfig(&hadc3, &AnalogWDGConfig) != HAL_OK)
  {
    Error_Handler();
  }

  /** Configure for the selected ADC regular channel its corresponding rank in the sequencer and its sample time.
  */
  sConfig.Channel = ADC_CHANNEL_10;
  sConfig.Rank = 1;
  sConfig.SamplingTime = ADC_SAMPLETIME_3CYCLES;
  if (HAL_ADC_ConfigChannel(&hadc3, &sConfig) != HAL_OK)
  {
    Error_Handler();
  }

  /** Configures for the selected ADC injected channel its corresponding rank in the sequencer and its sample time
  */
  sConfigInjected.InjectedChannel = ADC_CHANNEL_0;
  sConfigInjected.InjectedRank = 1;
  sConfigInjected.InjectedNbrOfConversion = 4;
  sConfigInjected.InjectedSamplingTime = ADC_SAMPLETIME_15CYCLES;
  sConfigInjected.ExternalTrigInjecConvEdge = ADC_EXTERNALTRIGINJECCONVEDGE_FALLING;
  sConfigInjected.ExternalTrigInjecConv = ADC_EXTERNALTRIGINJECCONV_T1_TRGO;
  sConfigInjected.AutoInjectedConv = DISABLE;
  sConfigInjected.InjectedDiscontinuousConvMode = DISABLE;
  sConfigInjected.InjectedOffset = 0;
  if (HAL_ADCEx_InjectedConfigChannel(&hadc3, &sConfigInjected) != HAL_OK)
  {
    Error_Handler();
  }

  /** Configures for the selected ADC injected channel its corresponding rank in the sequencer and its sample time
  */
  sConfigInjected.InjectedChannel = ADC_CHANNEL_11;
  sConfigInjected.InjectedRank = 2;
  if (HAL_ADCEx_InjectedConfigChannel(&hadc3, &sConfigInjected) != HAL_OK)
  {
    Error_Handler();
  }

  /** Configures for the selected ADC injected channel its corresponding rank in the sequencer and its sample time
  */
  sConfigInjected.InjectedChannel = ADC_CHANNEL_10;
  sConfigInjected.InjectedRank = 3;
  if (HAL_ADCEx_InjectedConfigChannel(&hadc3, &sConfigInjected) != HAL_OK)
  {
    Error_Handler();
  }

  /** Configures for the selected ADC injected channel its corresponding rank in the sequencer and its sample time
  */
  sConfigInjected.InjectedChannel = ADC_CHANNEL_11;
  sConfigInjected.InjectedRank = 4;
  sConfigInjected.InjectedSamplingTime = ADC_SAMPLETIME_3CYCLES;
  if (HAL_ADCEx_InjectedConfigChannel(&hadc3, &sConfigInjected) != HAL_OK)
  {
    Error_Handler();
  }

}

static void MX_CAN1_Init(void)
{

  hcan1.Instance = CAN1;
  hcan1.Init.Prescaler = 6;
  hcan1.Init.Mode = CAN_MODE_NORMAL;
  hcan1.Init.SyncJumpWidth = CAN_SJW_2TQ;
  hcan1.Init.TimeSeg1 = CAN_BS1_11TQ;
  hcan1.Init.TimeSeg2 = CAN_BS2_2TQ;
  hcan1.Init.TimeTriggeredMode = DISABLE;
  hcan1.Init.AutoBusOff = DISABLE;
  hcan1.Init.AutoWakeUp = DISABLE;
  hcan1.Init.AutoRetransmission = DISABLE;
  hcan1.Init.ReceiveFifoLocked = DISABLE;
  hcan1.Init.TransmitFifoPriority = ENABLE;
  if (HAL_CAN_Init(&hcan1) != HAL_OK)
  {
    Error_Handler();
  }

}

static void MX_TIM1_Init(void)
{

  TIM_MasterConfigTypeDef sMasterConfig = {0};
  TIM_OC_InitTypeDef sConfigOC = {0};
  TIM_BreakDeadTimeConfigTypeDef sBreakDeadTimeConfig = {0};

  htim1.Instance = TIM1;
  htim1.Init.Prescaler = 1;
  htim1.Init.CounterMode = TIM_COUNTERMODE_CENTERALIGNED1;
  htim1.Init.Period = 1023;
  htim1.Init.ClockDivision = TIM_CLOCKDIVISION_DIV1;
  htim1.Init.RepetitionCounter = 0;
  htim1.Init.AutoReloadPreload = TIM_AUTORELOAD_PRELOAD_DISABLE;
  if (HAL_TIM_PWM_Init(&htim1) != HAL_OK)
  {
    Error_Handler();
  }
  sMasterConfig.MasterOutputTrigger = TIM_TRGO_OC4REF;
  sMasterConfig.MasterSlaveMode = TIM_MASTERSLAVEMODE_DISABLE;
  if (HAL_TIMEx_MasterConfigSynchronization(&htim1, &sMasterConfig) != HAL_OK)
  {
    Error_Handler();
  }
  sConfigOC.OCMode = TIM_OCMODE_PWM1;
  sConfigOC.Pulse = 512;
  sConfigOC.OCPolarity = TIM_OCPOLARITY_HIGH;
  sConfigOC.OCNPolarity = TIM_OCNPOLARITY_HIGH;
  sConfigOC.OCFastMode = TIM_OCFAST_DISABLE;
  sConfigOC.OCIdleState = TIM_OCIDLESTATE_RESET;
  sConfigOC.OCNIdleState = TIM_OCNIDLESTATE_RESET;
  if (HAL_TIM_PWM_ConfigChannel(&htim1, &sConfigOC, TIM_CHANNEL_1) != HAL_OK)
  {
    Error_Handler();
  }
  if (HAL_TIM_PWM_ConfigChannel(&htim1, &sConfigOC, TIM_CHANNEL_2) != HAL_OK)
  {
    Error_Handler();
  }
  if (HAL_TIM_PWM_ConfigChannel(&htim1, &sConfigOC, TIM_CHANNEL_3) != HAL_OK)
  {
    Error_Handler();
  }
  if (HAL_TIM_PWM_ConfigChannel(&htim1, &sConfigOC, TIM_CHANNEL_4) != HAL_OK)
  {
    Error_Handler();
  }
  sBreakDeadTimeConfig.OffStateRunMode = TIM_OSSR_ENABLE;
  sBreakDeadTimeConfig.OffStateIDLEMode = TIM_OSSI_ENABLE;
  sBreakDeadTimeConfig.LockLevel = TIM_LOCKLEVEL_OFF;
  sBreakDeadTimeConfig.DeadTime = 80;
  sBreakDeadTimeConfig.BreakState = TIM_BREAK_ENABLE;
  sBreakDeadTimeConfig.BreakPolarity = TIM_BREAKPOLARITY_LOW;
  sBreakDeadTimeConfig.AutomaticOutput = TIM_AUTOMATICOUTPUT_DISABLE;
  if (HAL_TIMEx_ConfigBreakDeadTime(&htim1, &sBreakDeadTimeConfig) != HAL_OK)
  {
    Error_Handler();
  }
  HAL_TIM_MspPostInit(&htim1);

}

static void MX_TIM2_Init(void)
{

  TIM_MasterConfigTypeDef sMasterConfig = {0};
  TIM_OC_InitTypeDef sConfigOC = {0};

  htim2.Instance = TIM2;
  htim2.Init.Prescaler = 83;
  htim2.Init.CounterMode = TIM_COUNTERMODE_UP;
  htim2.Init.Period = 9999;
  htim2.Init.ClockDivision = TIM_CLOCKDIVISION_DIV1;
  htim2.Init.AutoReloadPreload = TIM_AUTORELOAD_PRELOAD_DISABLE;
  if (HAL_TIM_PWM_Init(&htim2) != HAL_OK)
  {
    Error_Handler();
  }
  sMasterConfig.MasterOutputTrigger = TIM_TRGO_UPDATE;
  sMasterConfig.MasterSlaveMode = TIM_MASTERSLAVEMODE_DISABLE;
  if (HAL_TIMEx_MasterConfigSynchronization(&htim2, &sMasterConfig) != HAL_OK)
  {
    Error_Handler();
  }
  sConfigOC.OCMode = TIM_OCMODE_PWM1;
  sConfigOC.Pulse = 0;
  sConfigOC.OCPolarity = TIM_OCPOLARITY_HIGH;
  sConfigOC.OCFastMode = TIM_OCFAST_DISABLE;
  if (HAL_TIM_PWM_ConfigChannel(&htim2, &sConfigOC, TIM_CHANNEL_1) != HAL_OK)
  {
    Error_Handler();
  }

}

static void MX_TIM3_Init(void)
{

  TIM_Encoder_InitTypeDef sConfig = {0};
  TIM_MasterConfigTypeDef sMasterConfig = {0};
  TIM_IC_InitTypeDef sConfigIC = {0};

  htim3.Instance = TIM3;
  htim3.Init.Prescaler = 0;
  htim3.Init.CounterMode = TIM_COUNTERMODE_UP;
  htim3.Init.Period = 4096;
  htim3.Init.ClockDivision = TIM_CLOCKDIVISION_DIV1;
  htim3.Init.AutoReloadPreload = TIM_AUTORELOAD_PRELOAD_DISABLE;
  if (HAL_TIM_IC_Init(&htim3) != HAL_OK)
  {
    Error_Handler();
  }
  sConfig.EncoderMode = TIM_ENCODERMODE_TI12;
  sConfig.IC1Polarity = TIM_ICPOLARITY_RISING;
  sConfig.IC1Selection = TIM_ICSELECTION_DIRECTTI;
  sConfig.IC1Prescaler = TIM_ICPSC_DIV1;
  sConfig.IC1Filter = 0;
  sConfig.IC2Polarity = TIM_ICPOLARITY_RISING;
  sConfig.IC2Selection = TIM_ICSELECTION_DIRECTTI;
  sConfig.IC2Prescaler = TIM_ICPSC_DIV1;
  sConfig.IC2Filter = 0;
  if (HAL_TIM_Encoder_Init(&htim3, &sConfig) != HAL_OK)
  {
    Error_Handler();
  }
  sMasterConfig.MasterOutputTrigger = TIM_TRGO_RESET;
  sMasterConfig.MasterSlaveMode = TIM_MASTERSLAVEMODE_DISABLE;
  if (HAL_TIMEx_MasterConfigSynchronization(&htim3, &sMasterConfig) != HAL_OK)
  {
    Error_Handler();
  }
  sConfigIC.ICPolarity = TIM_INPUTCHANNELPOLARITY_RISING;
  sConfigIC.ICSelection = TIM_ICSELECTION_DIRECTTI;
  sConfigIC.ICPrescaler = TIM_ICPSC_DIV1;
  sConfigIC.ICFilter = 0;
  if (HAL_TIM_IC_ConfigChannel(&htim3, &sConfigIC, TIM_CHANNEL_3) != HAL_OK)
  {
    Error_Handler();
  }

}

static void MX_TIM4_Init(void)
{

  TIM_MasterConfigTypeDef sMasterConfig = {0};
  TIM_OC_InitTypeDef sConfigOC = {0};

  htim4.Instance = TIM4;
  htim4.Init.Prescaler = 83;
  htim4.Init.CounterMode = TIM_COUNTERMODE_UP;
  htim4.Init.Period = 65535;
  htim4.Init.ClockDivision = TIM_CLOCKDIVISION_DIV1;
  htim4.Init.AutoReloadPreload = TIM_AUTORELOAD_PRELOAD_DISABLE;
  if (HAL_TIM_PWM_Init(&htim4) != HAL_OK)
  {
    Error_Handler();
  }
  if (HAL_TIM_OC_Init(&htim4) != HAL_OK)
  {
    Error_Handler();
  }
  sMasterConfig.MasterOutputTrigger = TIM_TRGO_RESET;
  sMasterConfig.MasterSlaveMode = TIM_MASTERSLAVEMODE_DISABLE;
  if (HAL_TIMEx_MasterConfigSynchronization(&htim4, &sMasterConfig) != HAL_OK)
  {
    Error_Handler();
  }
  sConfigOC.OCMode = TIM_OCMODE_PWM1;
  sConfigOC.Pulse = 0;
  sConfigOC.OCPolarity = TIM_OCPOLARITY_HIGH;
  sConfigOC.OCFastMode = TIM_OCFAST_DISABLE;
  if (HAL_TIM_PWM_ConfigChannel(&htim4, &sConfigOC, TIM_CHANNEL_1) != HAL_OK)
  {
    Error_Handler();
  }
  sConfigOC.OCMode = TIM_OCMODE_TIMING;
  if (HAL_TIM_OC_ConfigChannel(&htim4, &sConfigOC, TIM_CHANNEL_3) != HAL_OK)
  {
    Error_Handler();
  }

}

static void MX_TIM7_Init(void)
{

  TIM_MasterConfigTypeDef sMasterConfig = {0};

  htim7.Instance = TIM7;
  htim7.Init.Prescaler = 0;
  htim7.Init.CounterMode = TIM_COUNTERMODE_UP;
  htim7.Init.Period = 65535;
  htim7.Init.AutoReloadPreload = TIM_AUTORELOAD_PRELOAD_DISABLE;
  if (HAL_TIM_Base_Init(&htim7) != HAL_OK)
  {
    Error_Handler();
  }
  sMasterConfig.MasterOutputTrigger = TIM_TRGO_RESET;
  sMasterConfig.MasterSlaveMode = TIM_MASTERSLAVEMODE_DISABLE;
  if (HAL_TIMEx_MasterConfigSynchronization(&htim7, &sMasterConfig) != HAL_OK)
  {
    Error_Handler();
  }

}

static void MX_USART3_UART_Init(void)
{

  huart3.Instance = USART3;
  huart3.Init.BaudRate = 9600;
  huart3.Init.WordLength = UART_WORDLENGTH_8B;
  huart3.Init.StopBits = UART_STOPBITS_1;
  huart3.Init.Parity = UART_PARITY_NONE;
  huart3.Init.Mode = UART_MODE_TX_RX;
  huart3.Init.HwFlowCtl = UART_HWCONTROL_NONE;
  huart3.Init.OverSampling = UART_OVERSAMPLING_16;
  if (HAL_UART_Init(&huart3) != HAL_OK)
  {
    Error_Handler();
  }

}

static void MX_DMA_Init(void)
{

  /* DMA controller clock enable */
  __HAL_RCC_DMA1_CLK_ENABLE();
  __HAL_RCC_DMA2_CLK_ENABLE();

  /* DMA interrupt init */
  /* DMA1_Stream1_IRQn interrupt configuration */
  HAL_NVIC_SetPriority(DMA1_Stream1_IRQn, 5, 0);
  HAL_NVIC_EnableIRQ(DMA1_Stream1_IRQn);
  /* DMA1_Stream3_IRQn interrupt configuration */
  HAL_NVIC_SetPriority(DMA1_Stream3_IRQn, 5, 0);
  HAL_NVIC_EnableIRQ(DMA1_Stream3_IRQn);

}

static void MX_GPIO_Init(void)
{
  GPIO_InitTypeDef GPIO_InitStruct = {0};

  /* GPIO Ports Clock Enable */
  __HAL_RCC_GPIOH_CLK_ENABLE();
  __HAL_RCC_GPIOC_CLK_ENABLE();
  __HAL_RCC_GPIOA_CLK_ENABLE();
  __HAL_RCC_GPIOB_CLK_ENABLE();

  /*Configure GPIO pin Output Level */
  HAL_GPIO_WritePin(GPIOB, LED_GREEN_Pin|LED_RED_Pin|GPIO_PIN_7, GPIO_PIN_RESET);

  /*Configure GPIO pins : LED_GREEN_Pin LED_RED_Pin PB7 */
  GPIO_InitStruct.Pin = LED_GREEN_Pin|LED_RED_Pin|GPIO_PIN_7;
  GPIO_InitStruct.Mode = GPIO_MODE_OUTPUT_PP;
  GPIO_InitStruct.Pull = GPIO_NOPULL;
  GPIO_InitStruct.Speed = GPIO_SPEED_FREQ_LOW;
  HAL_GPIO_Init(GPIOB, &GPIO_InitStruct);

}

/* USER CODE BEGIN 4 */

/**
  * @brief I2C2 Initialization Function
  * @param None
  * @retval None
  */
static void MX_I2C2_Init(void)
{

  /* USER CODE BEGIN I2C2_Init 0 */

  /* USER CODE END I2C2_Init 0 */

  /* USER CODE BEGIN I2C2_Init 1 */

  /* USER CODE END I2C2_Init 1 */
  hi2c2.Instance = I2C2;
  hi2c2.Init.ClockSpeed = 100000;
  hi2c2.Init.DutyCycle = I2C_DUTYCYCLE_2;
  hi2c2.Init.OwnAddress1 = 0;
  hi2c2.Init.AddressingMode = I2C_ADDRESSINGMODE_7BIT;
  hi2c2.Init.DualAddressMode = I2C_DUALADDRESS_DISABLE;
  hi2c2.Init.OwnAddress2 = 0;
  hi2c2.Init.GeneralCallMode = I2C_GENERALCALL_DISABLE;
  hi2c2.Init.NoStretchMode = I2C_NOSTRETCH_DISABLE;
  if (HAL_I2C_Init(&hi2c2) != HAL_OK)
  {
    Error_Handler();
  }
  /* USER CODE BEGIN I2C2_Init 2 */

  /* USER CODE END I2C2_Init 2 */

}
/* USER CODE END 4 */

void StartDefaultTask(void *argument)
{
  /* init code for USB_DEVICE */
  MX_USB_DEVICE_Init();
  /* USER CODE BEGIN 5 */
  /* Infinite loop */

  for(;;)
  {

	  HAL_GPIO_TogglePin(LED_GREEN_GPIO_Port, LED_GREEN_Pin);

	  osDelay(200);
  }
  /* USER CODE END 5 */
}

void HAL_TIM_PeriodElapsedCallback(TIM_HandleTypeDef *htim)
{
  if (htim->Instance == TIM6) {
    HAL_IncTick();
  }
}

void Error_Handler(void)
{
  __disable_irq();
  while (1)
  {
  }
}
